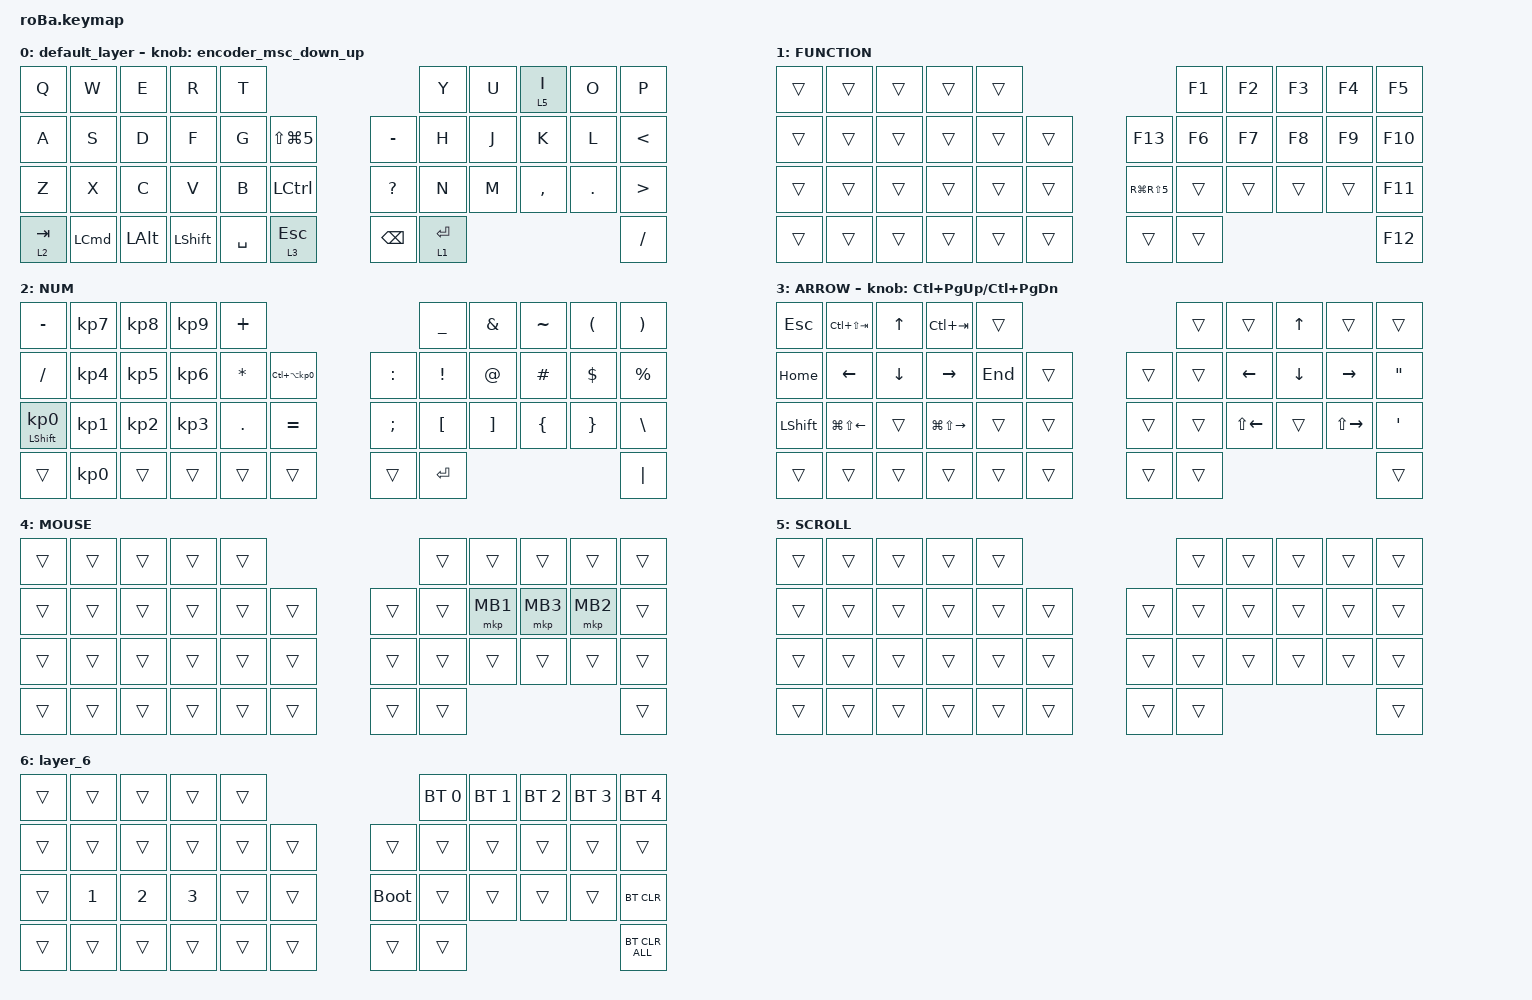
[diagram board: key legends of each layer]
#include <input/processors.dtsi>
#include <behaviors.dtsi>
#include <dt-bindings/zmk/bt.h>
#include <dt-bindings/zmk/keys.h>
#include <dt-bindings/zmk/pointing.h>

#define ZMK_POINTING_DEFAULT_SCRL_VAL 80

&mt {
    flavor = "balanced";
    quick-tap-ms = <0>;
};

&trackball {
    // automouse-layer = <4>;  // Input Processorに移行したためコメントアウト
    scroll-layers = <5>;

    // arrows {
    //     layers = <3>;
    //     bindings =
    //         <&kp RIGHT_ARROW>,
    //         <&kp LEFT_ARROW>,
    //         <&kp UP_ARROW>,
    //         <&kp DOWN_ARROW>;
    //     tick = <10>;
    //     wait-ms = <5>;
    //     tap-ms = <5>;
    // };
};

/ {
    combos {
        compatible = "zmk,combos";

        tab {
            bindings = <&kp TAB>;
            key-positions = <11 12>;
        };

        shift_tab {
            bindings = <&kp LS(TAB)>;
            key-positions = <12 13>;
        };

        muhennkann {
            bindings = <&to_layer_0 INT_MUHENKAN>;
            key-positions = <11 10>;
        };

        double_quotation {
            bindings = <&kp DOUBLE_QUOTES>;
            key-positions = <20 21>;
        };

        eq {
            bindings = <&kp EQUAL>;
            key-positions = <24 25>;
        };
        ime_toggle {
                    bindings = <&kp LG(SPACE)>;
                    key-positions = <37 38>;
                    timeout-ms = <30>;
                    layers = <0>;
                    };
        };

    macros {
        to_layer_0: to_layer_0 {
            compatible = "zmk,behavior-macro-one-param";
            #binding-cells = <1>;
            bindings = <&to 0 &macro_param_1to1 &kp MACRO_PLACEHOLDER>;
            label = "TO_LAYER_0";
        };
    };

    behaviors {
        lt_to_layer_0: lt_to_layer_0 {
            compatible = "zmk,behavior-hold-tap";
            label = "LAYER_TAP_TO_0";
            bindings = <&mo>, <&to_layer_0>;

            #binding-cells = <2>;
            tapping-term-ms = <200>;
        };
    };

    behaviors {
        encoder_msc_down_up: encoder_msc_down_up {
            compatible = "zmk,behavior-sensor-rotate";
            label = "ENCODER_MSC_DOWN_UP";
            #sensor-binding-cells = <0>;
            bindings = <&msc SCRL_UP>, <&msc SCRL_DOWN>;

            tap-ms = <20>;
        };
    };

    keymap {
        compatible = "zmk,keymap";

        default_layer {
            bindings = <
&kp Q      &kp W             &kp E         &kp R           &kp T                                                  &kp Y        &kp U  &lt 5 I    &kp O    &kp P
&kp A      &kp S             &kp D         &kp F           &kp G      &kp LS(LG(N5))               &kp MINUS      &kp H        &kp J  &kp K      &kp L    &kp LESS_THAN
&kp Z      &kp X             &kp C         &kp V           &kp B      &kp LCTRL                    &kp QUESTION   &kp N        &kp M  &kp COMMA  &kp DOT  &kp GT
&lt 2 TAB  &kp LEFT_COMMAND  &kp LEFT_ALT  &kp LEFT_SHIFT  &kp SPACE  &lt_to_layer_0 3 ESCAPE      &kp BACKSPACE  &lt 1 ENTER                             &kp SLASH
            >;

            sensor-bindings = <&encoder_msc_down_up>;
        };

        FUNCTION {
            bindings = <
&trans  &trans  &trans  &trans  &trans                              &kp F1  &kp F2  &kp F3  &kp F4  &kp F5
&trans  &trans  &trans  &trans  &trans  &trans      &kp F13         &kp F6  &kp F7  &kp F8  &kp F9  &kp F10
&trans  &trans  &trans  &trans  &trans  &trans      &kp RG(RS(N5))  &trans  &trans  &trans  &trans  &kp F11
&trans  &trans  &trans  &trans  &trans  &trans      &trans          &trans                          &kp F12
            >;
        };

        NUM {
            bindings = <
&kp MINUS                   &kp KP_NUMBER_7  &kp KP_NUMBER_8  &kp KP_NUMBER_9  &kp PLUS                                                  &kp UNDER         &kp AMPERSAND      &kp TILDE       &kp LEFT_PARENTHESIS  &kp RIGHT_PARENTHESIS
&kp SLASH                   &kp KP_NUMBER_4  &kp KP_NUMBER_5  &kp KP_NUMBER_6  &kp ASTERISK  &kp LC(LA(KP_NUMBER_0))      &kp COLON      &kp EXCLAMATION   &kp AT_SIGN        &kp HASH        &kp DOLLAR            &kp PERCENT
&mt LEFT_SHIFT KP_NUMBER_0  &kp KP_NUMBER_1  &kp KP_NUMBER_2  &kp KP_NUMBER_3  &kp PERIOD    &kp EQUAL                    &kp SEMICOLON  &kp LEFT_BRACKET  &kp RIGHT_BRACKET  &kp LEFT_BRACE  &kp RIGHT_BRACE       &kp BACKSLASH
&trans                      &kp KP_N0        &trans           &trans           &trans        &trans                       &trans         &kp ENTER                                                                  &kp PIPE
            >;
        };

        ARROW {
            bindings = <
&kp ESCAPE      &kp LC(LS(TAB))         &kp UP_ARROW    &kp LC(TAB)              &trans                       &trans  &trans              &kp UP_ARROW    &trans               &trans
&kp HOME        &kp LEFT_ARROW          &kp DOWN_ARROW  &kp RIGHT_ARROW          &kp END  &trans      &trans  &trans  &kp LEFT_ARROW      &kp DOWN_ARROW  &kp RIGHT_ARROW      &kp DOUBLE_QUOTES
&kp LEFT_SHIFT  &kp LG(LS(LEFT_ARROW))  &trans          &kp LG(LS(RIGHT_ARROW))  &trans   &trans      &trans  &trans  &kp LS(LEFT_ARROW)  &trans          &kp LS(RIGHT_ARROW)  &kp SINGLE_QUOTE
&trans          &trans                  &trans          &trans                   &trans   &trans      &trans  &trans                                                           &trans
            >;

            sensor-bindings = <&inc_dec_kp LC(PAGE_UP) LC(PAGE_DOWN)>;
        };

        MOUSE {
            bindings = <
&trans  &trans  &trans  &trans  &trans                      &trans  &trans    &trans    &trans    &trans
&trans  &trans  &trans  &trans  &trans  &trans      &trans  &trans  &mkp MB1  &mkp MB3  &mkp MB2  &trans
&trans  &trans  &trans  &trans  &trans  &trans      &trans  &trans  &trans    &trans    &trans    &trans
&trans  &trans  &trans  &trans  &trans  &trans      &trans  &trans                                &trans
            >;
        };

        SCROLL {
            bindings = <
&trans  &trans  &trans  &trans  &trans                      &trans  &trans  &trans  &trans  &trans
&trans  &trans  &trans  &trans  &trans  &trans      &trans  &trans  &trans  &trans  &trans  &trans
&trans  &trans  &trans  &trans  &trans  &trans      &trans  &trans  &trans  &trans  &trans  &trans
&trans  &trans  &trans  &trans  &trans  &trans      &trans  &trans                          &trans
            >;
        };

        layer_6 {
            bindings = <
&trans  &trans        &trans        &trans        &trans                           &bt BT_SEL 0  &bt BT_SEL 1  &bt BT_SEL 2  &bt BT_SEL 3  &bt BT_SEL 4
&trans  &trans        &trans        &trans        &trans  &trans      &trans       &trans        &trans        &trans        &trans        &trans
&trans  &kp NUMBER_1  &kp NUMBER_2  &kp NUMBER_3  &trans  &trans      &bootloader  &trans        &trans        &trans        &trans        &bt BT_CLR
&trans  &trans        &trans        &trans        &trans  &trans      &trans       &trans                                                  &bt BT_CLR_ALL
            >;
        };
    };
};
&mkp_input_listener {
    input-processors = <&zip_temp_layer 4 10000>;
};
